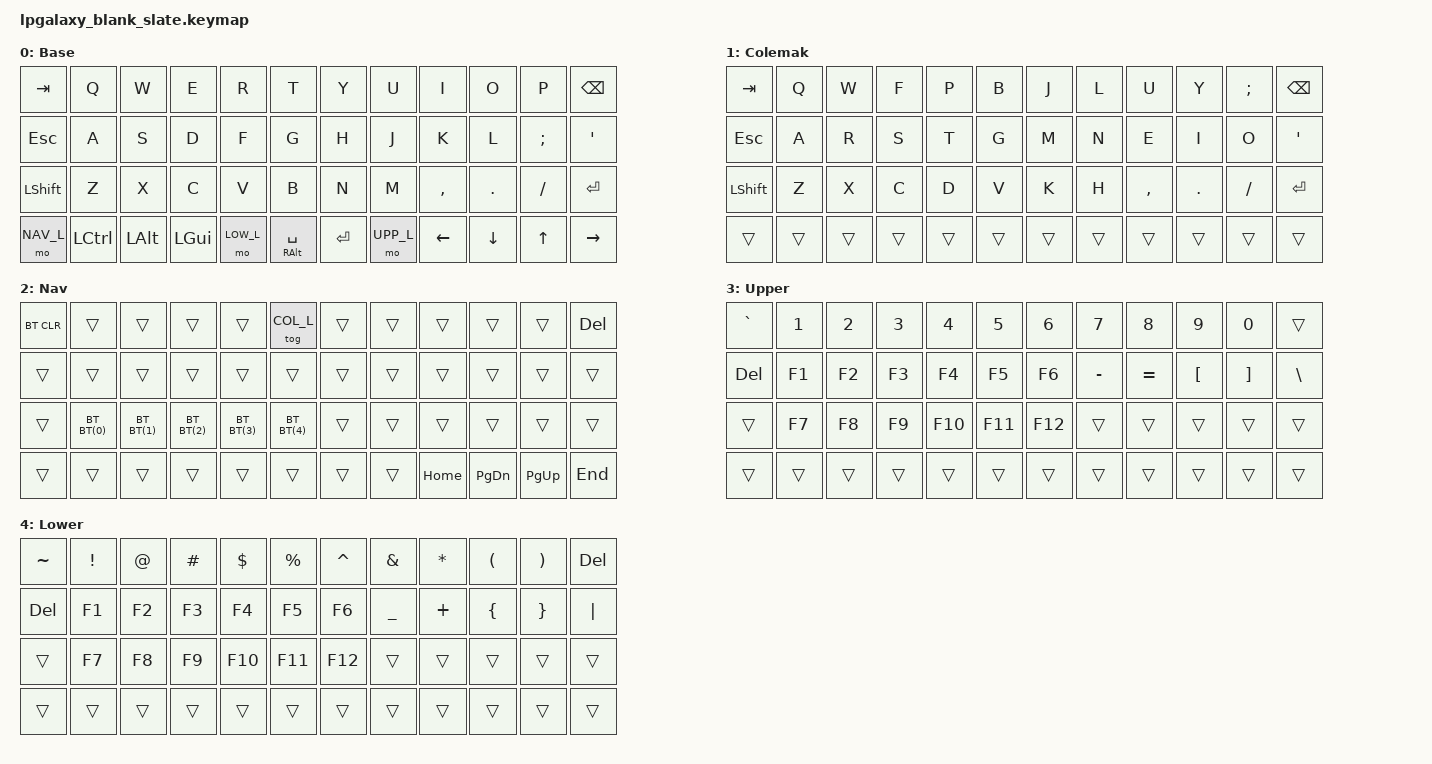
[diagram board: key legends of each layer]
/*
 * Copyright (c) 2022 Pete Johanson
 *
 * SPDX-License-Identifier: MIT
 */

#include <behaviors.dtsi>
#include <dt-bindings/zmk/keys.h>
#include <dt-bindings/zmk/bt.h>
#include <dt-bindings/zmk/outputs.h>

#define COL_L 1
#define NAV_L 2
#define UPP_L 3
#define LOW_L 4

// Using layer taps on thumbs, having quick tap as well helps w/ repeating space/backspace
&lt { quick_tap_ms = <200>; };

&mt {
    tapping-term-ms = <250>;
};

#define BT(n) BT_SEL n

/ {
    chosen {
       zmk,matrix_transform =
                       &ortho_transform;
    };

    macros {
    };
    
    tap_dances {
    };

    keymap {
        compatible = "zmk,keymap";

        base_layer {
            label = "Base";
            bindings = <
 &kp TAB    &kp Q      &kp W      &kp E       &kp R          &kp T          &kp Y            &kp U          &kp I       &kp O      &kp P         &kp BKSP
 &kp ESC    &kp A      &kp S      &kp D       &kp F          &kp G          &kp H            &kp J          &kp K       &kp L      &kp SEMI      &kp QUOT
 &kp LSHFT  &kp Z      &kp X      &kp C       &kp V          &kp B          &kp N            &kp M          &kp COMMA   &kp DOT    &kp FSLH      &kp RET
 &mo NAV_L  &kp LCTRL  &kp LALT   &kp LGUI    &mo LOW_L      &mt RALT SPACE &kp RET          &mo UPP_L      &kp LEFT    &kp DOWN   &kp UP        &kp RIGHT
            >;
        };

        colemak_layer {
            label = "Colemak";
            bindings = <
 &kp TAB    &kp Q      &kp W      &kp F      &kp P      &kp B      &kp J      &kp L      &kp U      &kp Y      &kp SEMI   &kp BKSP
 &kp ESC    &kp A      &kp R      &kp S      &kp T      &kp G      &kp M      &kp N      &kp E      &kp I      &kp O      &kp QUOT
 &kp LSHFT  &kp Z      &kp X      &kp C      &kp D      &kp V      &kp K      &kp H      &kp COMMA  &kp DOT    &kp FSLH   &kp RET
 &trans     &trans     &trans     &trans     &trans     &trans     &trans     &trans     &trans     &trans     &trans     &trans
            >;
        };

        nav_layer {
            label = "Nav";
            bindings = <
&bt BT_CLR &trans     &trans     &trans      &trans          &tog COL_L   &trans     &trans     &trans      &trans     &trans     &kp DEL
&trans     &trans     &trans     &trans      &trans          &trans       &trans     &trans     &trans      &trans     &trans     &trans
&trans     &bt BT(0)  &bt BT(1)  &bt BT(2)   &bt BT(3)       &bt BT(4)    &trans     &trans     &trans      &trans     &trans     &trans
&trans     &trans     &trans     &trans      &trans          &trans       &trans     &trans     &kp HOME    &kp PG_DN  &kp PG_UP  &kp END
            >;
        };

        up_layer {
            label = "Upper";
            bindings = <
&kp GRAVE  &kp N1     &kp N2     &kp N3     &kp N4     &kp N5     &kp N6     &kp N7     &kp N8     &kp N9     &kp N0     &trans
&kp DEL    &kp F1     &kp F2     &kp F3     &kp F4     &kp F5     &kp F6     &kp MINUS  &kp EQUAL  &kp LBKT   &kp RBKT   &kp BSLH
&trans     &kp F7     &kp F8     &kp F9     &kp F10    &kp F11    &kp F12    &trans     &trans     &trans     &trans     &trans
&trans     &trans     &trans     &trans     &trans     &trans     &trans     &trans     &trans     &trans     &trans     &trans
            >;
        };

        low_layer {
            label = "Lower";
            bindings = <
&kp TILDE  &kp EXCL   &kp AT     &kp HASH   &kp DLLR   &kp PRCNT  &kp CARET  &kp AMPS   &kp STAR   &kp LPAR   &kp RPAR   &kp DEL
&kp DEL       &kp F1     &kp F2     &kp F3     &kp F4     &kp F5     &kp F6     &kp UNDER  &kp PLUS   &kp LBRC   &kp RBRC   &kp PIPE
&trans     &kp F7     &kp F8     &kp F9     &kp F10    &kp F11    &kp F12    &trans     &trans     &trans     &trans     &trans
&trans     &trans     &trans     &trans     &trans     &trans     &trans     &trans     &trans     &trans     &trans     &trans
            >;
        };


    };
};

